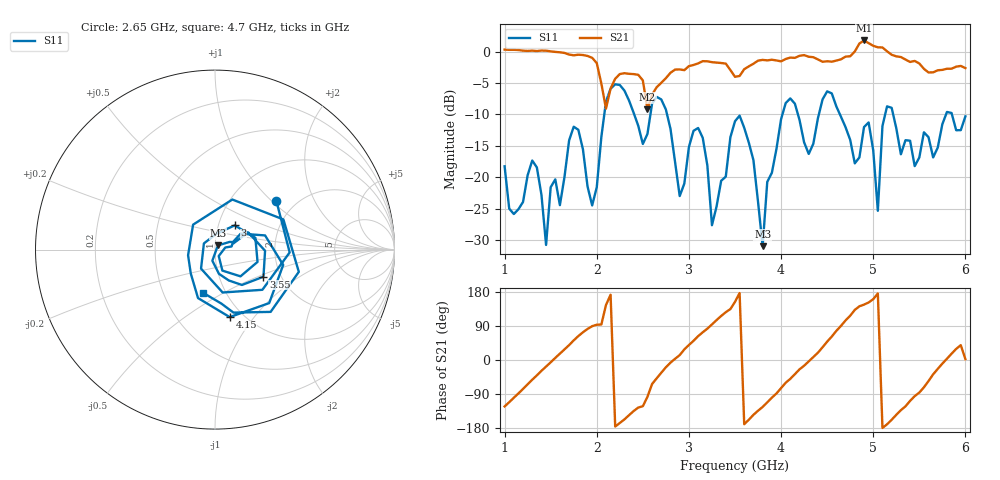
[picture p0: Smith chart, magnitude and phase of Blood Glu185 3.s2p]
! NanoVNA-App
! Date: 2024-03-21 15:58:34
! Start: 1GHz Stop: 6GHz Points: 101
! S-Parameter data: F S11 S21 S12 S22
# Hz S RI R 50
!	Frequency	S11_Real	S11_Imag	S21_Real	S21_Imag	S12_Real	S12_Imag	S22_Real	S22_Imag
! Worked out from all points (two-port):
!   101 points, 1 GHz to 6 GHz, reference 50 ohm
!   highest |S21| = 1.78 dB at 4.9 GHz (marker M1); lowest = -9.2 dB at 2.55 GHz (marker M2)
!   |S21| within 3 dB of the highest: start of sweep to 1.964 GHz; 4.651 GHz to 5.345 GHz (694.7 MHz wide, 13.9 % of centre)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
!   lowest |S11| = -31.0 dB at 3.8 GHz (marker M3), VSWR 1.06, Z = 51.6 + j2.4 ohm
!   |S11| at or under -10 dB: start of sweep to 2.082 GHz; 2.763 GHz to 4.015 GHz (1.252 GHz wide, 36.9 % of centre); 5.216 GHz to 5.79 GHz (573.6 MHz wide, 10.4 % of centre)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
!   S12 and S22 are empty: the file has one direction only
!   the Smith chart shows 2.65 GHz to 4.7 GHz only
!   S11 on the Smith chart (normalised r, x): 2.65 GHz: 1.60, +1.07; 3 GHz: 1.20, +0.33; 3.55 GHz: 1.63, -0.54; 4.15 GHz: 0.87, -0.76; 4.7 GHz: 0.79, -0.40
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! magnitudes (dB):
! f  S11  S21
! 1 GHz  -18.3  0.3
! 1.35 GHz  -18.4  0.1
! 1.45 GHz  -30.8  0.2
! 1.85 GHz  -15.6  -0.5
! 1.95 GHz  -24.5  -1.0
! 2.15 GHz  -5.9  -5.9
! 2.55 GHz  -13.1  -9.2
! 2.65 GHz  -7.2  -5.7
! 2.7 GHz  -7.6  -5.0
! 2.9 GHz  -23.0  -2.8
! 3 GHz  -15.2  -2.3
! 3.25 GHz  -27.6  -1.7
! 3.5 GHz  -11.1  -4.0
! 3.55 GHz  -10.2  -3.9
! 3.8 GHz  -31.0  -1.3
! 4.15 GHz  -8.3  -1.0
! 4.35 GHz  -14.7  -0.9
! 4.7 GHz  -12.0  -0.8
! 4.9 GHz  -12.0  1.8
! 5.05 GHz  -25.4  0.7
! 5.2 GHz  -8.9  -0.5
! 6 GHz  -10.3  -2.6
